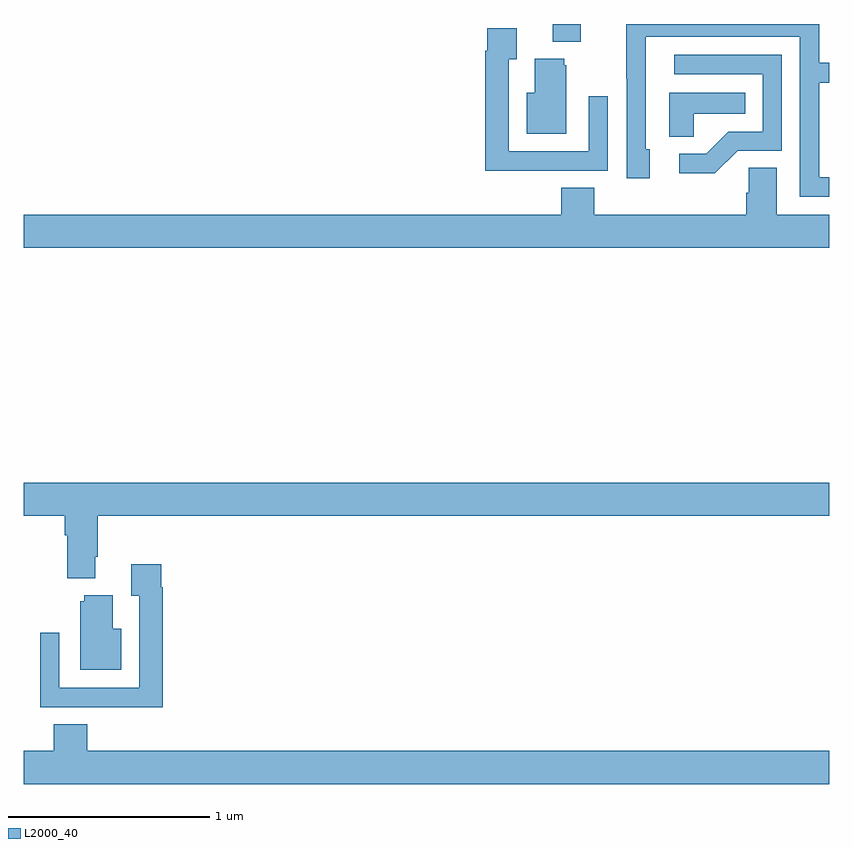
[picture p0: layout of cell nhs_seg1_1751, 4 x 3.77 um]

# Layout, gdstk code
import gdstk
lib = gdstk.Library(unit=1e-6, precision=1e-09)
def R(c, l, rs):  # rectangles x0, y0, x1, y1
    for r in rs: c.add(gdstk.rectangle(r[:2], r[2:], *l))
def P(c, l, *ps):  # polygons
    for p in ps: c.add(gdstk.Polygon(p, *l))
L2000_40 = (2000, 40)

nhs_seg1_1751 = lib.new_cell('nhs_seg1_1751')
R(nhs_seg1_1751, L2000_40, [(209.627,530.111,209.767,530.199)])
P(nhs_seg1_1751, L2000_40, [(211,529.437),(210.951,529.437),(210.951,529.906),(211,529.906),(211,530.007),(210.951,530.007),(210.951,530.199),(209.992,530.199),(209.992,529.927),(209.994,529.927),(209.994,529.434),(210.109,529.434),(210.109,529.578),(210.09,529.578),(210.09,530.136),(210.855,530.136),(210.855,529.341),(211,529.341)],
  [(209.585,529.47),(209.901,529.47),(209.901,529.84),(209.805,529.84),(209.805,529.566),(209.409,529.566),(209.409,530.023),(209.449,530.023),(209.449,530.179),(209.301,530.179),(209.301,530.066),(209.293,530.066),(209.293,529.469),(209.585,529.469)],
  [(210.546,529.569),(210.765,529.569),(210.765,530.046),(210.231,530.046),(210.231,529.95),(210.669,529.95),(210.669,529.665),(210.5,529.665),(210.389,529.554),(210.255,529.554),(210.255,529.457),(210.433,529.457)],
  [(209.695,529.995),(209.684,529.995),(209.684,530.026),(209.537,530.026),(209.537,529.858),(209.498,529.858),(209.498,529.655),(209.695,529.655)],
  [(210.327,529.754),(210.584,529.754),(210.584,529.858),(210.206,529.858),(210.206,529.639),(210.327,529.639)],
  [(211,529.252),(210.739,529.252),(210.739,529.484),(210.6,529.484),(210.6,529.361),(210.587,529.361),(210.587,529.252),(209.834,529.252),(209.834,529.385),(209.669,529.385),(209.669,529.252),(207,529.252),(207,529.088),(211,529.088)],
  [(207.355,527.554),(207.368,527.554),(207.368,527.756),(211,527.756),(211,527.92),(207,527.92),(207,527.756),(207.203,527.756),(207.203,527.66),(207.215,527.66),(207.215,527.447),(207.355,527.447)],
  [(207.689,527.402),(207.682,527.402),(207.682,527.515),(207.533,527.515),(207.533,527.359),(207.573,527.359),(207.573,526.902),(207.177,526.902),(207.177,527.176),(207.081,527.176),(207.081,526.806),(207.397,526.806),(207.397,526.805),(207.689,526.805)],
  [(207.484,527.194),(207.442,527.194),(207.442,527.362),(207.299,527.362),(207.299,527.331),(207.281,527.331),(207.281,526.991),(207.484,526.991)],
  [(211,526.588),(207.314,526.588),(207.314,526.721),(207.149,526.721),(207.149,526.588),(207,526.588),(207,526.424),(211,526.424)])

lib.write_gds('nhs_seg1_1751.gds')
